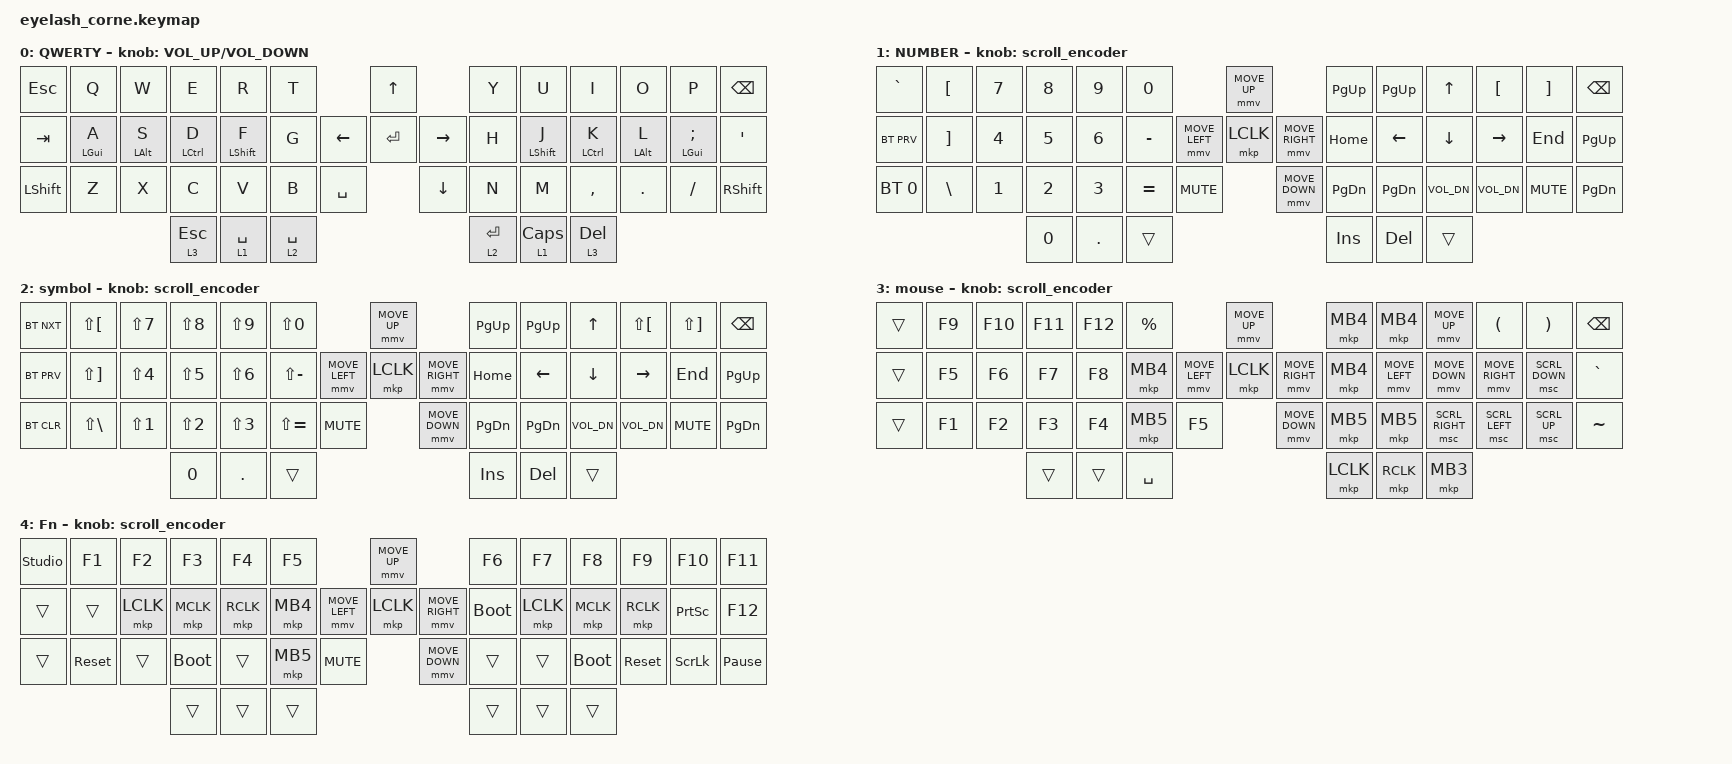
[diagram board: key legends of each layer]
#define ZMK_POINTING_DEFAULT_MOVE_VAL 1200  // 600
#define ZMK_POINTING_DEFAULT_SCRL_VAL 25   // 10

#include <input/processors.dtsi>
#include <zephyr/dt-bindings/input/input-event-codes.h>
#include <behaviors.dtsi>
#include <dt-bindings/zmk/bt.h>
#include <dt-bindings/zmk/keys.h>
#include <dt-bindings/zmk/pointing.h>
#include <dt-bindings/zmk/rgb.h>

&mmv_input_listener { input-processors = <&zip_xy_scaler 2 1>; };

&msc_input_listener { input-processors = <&zip_scroll_scaler 2 1>; };

&msc {
    acceleration-exponent = <1>;      // 0
    time-to-max-speed-ms = <100>;       // 300
    delay-ms = <0>;                   // 0
};

&mt {
    // tapping-term-ms = <250>; // This is the value already set by default

    flavor = "tap-preferred";

    // quick-tap-ms = <170>; // This is the value already set by default
};

&mmv {
    time-to-max-speed-ms = <500>;
    acceleration-exponent = <1>;
    trigger-period-ms = <16>;
};

/ {
    behaviors {
        td0: td0 {
            compatible = "zmk,behavior-tap-dance";
            display-name = "Shift/Caps Lock Tap Dance";
            #binding-cells = <0>;
            bindings = <&kp LEFT_SHIFT>, <&kp CAPS>;
        };

        new_behavior: new_behavior {
            compatible = "zmk,behavior-mod-morph";
            label = "NEW_BEHAVIOR";
            bindings = <&kp ESCAPE>, <&kp GRAVE>;

            #binding-cells = <0>;
            mods = <(MOD_LSFT)>;
        };

        grave_escape: grave_escape {
            compatible = "zmk,behavior-mod-morph";
            label = "GRAVE_ESCAPE";
            bindings = <&kp ESCAPE>, <&kp GRAVE>;

            #binding-cells = <0>;
            mods = <(MOD_LSFT)>;
        };
    };

    rgb_encoder: rgb_encoder {
        compatible = "zmk,behavior-sensor-rotate";
        #sensor-binding-cells = <0>;
        bindings = <&rgb_ug RGB_BRI>, <&rgb_ug RGB_BRD>;
    };

    scroll_encoder: scroll_encoder {
        compatible = "zmk,behavior-sensor-rotate";
        #sensor-binding-cells = <0>;
        bindings = <&msc SCRL_DOWN>, <&msc SCRL_UP>;

        tap-ms = <100>;
    };

    keymap {
        compatible = "zmk,keymap";

        default_layer {
            display-name = "QWERTY";
            bindings = <
&kp ESC    &kp Q       &kp W       &kp E        &kp R        &kp T                               &kp UP                &kp Y        &kp U        &kp I        &kp O       &kp P          &kp BSPC
&kp TAB    &mt LGUI A  &mt LALT S  &mt LCTRL D  &mt LSHFT F  &kp G                     &kp LEFT  &kp ENTER  &kp RIGHT  &kp H        &mt LSHFT J  &mt LCTRL K  &mt LALT L  &mt LGUI SEMI  &kp SQT
&kp LSHFT  &kp Z       &kp X       &kp C        &kp V        &kp B        &kp SPACE              &kp DOWN              &kp N        &kp M        &kp COMMA    &kp DOT     &kp FSLH       &kp RSHFT
                                   &lt 3 ESC    &lt 1 SPACE  &lt 2 SPACE                                               &lt 2 ENTER  &lt 1 CAPS   &lt 3 DEL
            >;

            sensor-bindings = <&inc_dec_kp C_VOLUME_UP C_VOLUME_DOWN>;
        };

        lower_layer {
            display-name = "NUMBER";
            bindings = <
&kp GRAVE     &kp LEFT_BRACKET   &kp NUMBER_7  &kp NUMBER_8  &kp NUMBER_9  &kp NUMBER_0                                &mmv MOVE_UP                     &kp PAGE_UP    &kp PAGE_UP     &kp UP_ARROW  &kp LEFT_BRACKET  &kp RIGHT_BRACKET  &kp BSPC
&bt BT_PRV    &kp RIGHT_BRACKET  &kp NUMBER_4  &kp NUMBER_5  &kp NUMBER_6  &kp MINUS                   &mmv MOVE_LEFT  &mkp LCLK       &mmv MOVE_RIGHT  &kp HOME       &kp LEFT_ARROW  &kp DOWN      &kp RIGHT         &kp END            &kp PG_UP
&bt BT_SEL 0  &kp BACKSLASH      &kp NUMBER_1  &kp NUMBER_2  &kp NUMBER_3  &kp EQUAL     &kp C_MUTE                    &mmv MOVE_DOWN                   &kp PAGE_DOWN  &kp PAGE_DOWN   &kp C_VOL_DN  &kp C_VOL_DN      &kp K_MUTE         &kp PG_DN
                                               &kp NUMBER_0  &kp DOT       &trans                                                                       &kp INS        &kp DEL         &trans
            >;

            sensor-bindings = <&scroll_encoder>;
        };

        layer_2 {
            display-name = "symbol";
            bindings = <
&bt BT_NXT  &kp LS(LEFT_BRACKET)   &kp LS(NUMBER_7)  &kp LS(NUMBER_8)  &kp LS(NUMBER_9)  &kp LS(NUMBER_0)                                &mmv MOVE_UP                     &kp PAGE_UP    &kp PAGE_UP     &kp UP_ARROW  &kp LS(LEFT_BRACKET)  &kp LS(RIGHT_BRACKET)  &kp BSPC
&bt BT_PRV  &kp LS(RIGHT_BRACKET)  &kp LS(NUMBER_4)  &kp LS(NUMBER_5)  &kp LS(NUMBER_6)  &kp LS(MINUS)                   &mmv MOVE_LEFT  &mkp LCLK       &mmv MOVE_RIGHT  &kp HOME       &kp LEFT_ARROW  &kp DOWN      &kp RIGHT             &kp END                &kp PG_UP
&bt BT_CLR  &kp LS(BACKSLASH)      &kp LS(NUMBER_1)  &kp LS(NUMBER_2)  &kp LS(NUMBER_3)  &kp LS(EQUAL)     &kp C_MUTE                    &mmv MOVE_DOWN                   &kp PAGE_DOWN  &kp PAGE_DOWN   &kp C_VOL_DN  &kp C_VOL_DN          &kp K_MUTE             &kp PG_DN
                                                     &kp NUMBER_0      &kp DOT           &trans                                                                           &kp INS        &kp DEL         &trans
            >;

            sensor-bindings = <&scroll_encoder>;
        };

        raise_layer {
            display-name = "mouse";
            bindings = <
&trans  &kp F9  &kp F10  &kp F11  &kp F12  &kp PRCNT                            &mmv MOVE_UP                     &mkp MB4   &mkp MB4        &mmv MOVE_UP     &kp LPAR         &kp RPAR        &kp BSPC
&trans  &kp F5  &kp F6   &kp F7   &kp F8   &mkp MB4             &mmv MOVE_LEFT  &mkp LCLK       &mmv MOVE_RIGHT  &mkp MB4   &mmv MOVE_LEFT  &mmv MOVE_DOWN   &mmv MOVE_RIGHT  &msc SCRL_DOWN  &kp GRAVE
&trans  &kp F1  &kp F2   &kp F3   &kp F4   &mkp MB5   &kp F5                    &mmv MOVE_DOWN                   &mkp MB5   &mkp MB5        &msc SCRL_RIGHT  &msc SCRL_LEFT   &msc SCRL_UP    &kp TILDE
                         &trans   &trans   &kp SPACE                                                             &mkp LCLK  &mkp RCLK       &mkp MB3
            >;

            sensor-bindings = <&scroll_encoder>;
        };

        layer_3 {
            display-name = "Fn";
            bindings = <
&studio_unlock  &kp F1      &kp F2     &kp F3       &kp F4     &kp F5                                  &mmv MOVE_UP                     &kp F6       &kp F7     &kp F8       &kp F9      &kp F10          &kp F11
&trans          &trans      &mkp LCLK  &mkp MCLK    &mkp RCLK  &mkp MB4                &mmv MOVE_LEFT  &mkp LCLK       &mmv MOVE_RIGHT  &bootloader  &mkp LCLK  &mkp MCLK    &mkp RCLK   &kp PRINTSCREEN  &kp F12
&trans          &sys_reset  &trans     &bootloader  &trans     &mkp MB5  &kp C_MUTE                    &mmv MOVE_DOWN                   &trans       &trans     &bootloader  &sys_reset  &kp SCROLLLOCK   &kp PAUSE_BREAK
                                       &trans       &trans     &trans                                                                   &trans       &trans     &trans
            >;

            sensor-bindings = <&scroll_encoder>;
        };
    };
};
